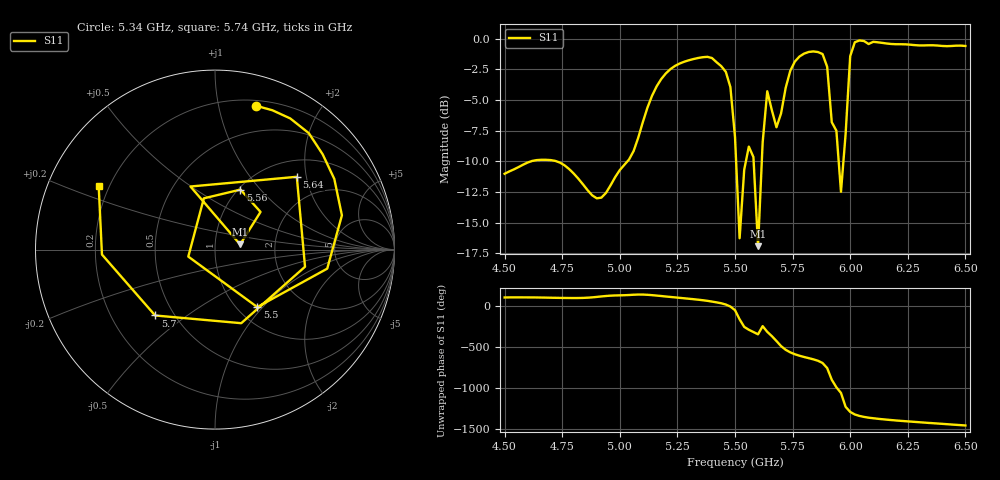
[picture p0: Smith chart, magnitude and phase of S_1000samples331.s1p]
! TOUCHSTONE file generated by CST MICROWAVE STUDIO
! Date and time: Thu Oct 27 19:33:29 2022
! Project name: L.cst
! Parameters = {Di=1.27; Epsilon_r=1.56; InnerDiameter=1.27; Length=2; Lf=10; Lg=60; OuterConductorThickness=0.2921; OuterDiameter=3.6; Wf=3; Wp=41.2; de=1.5; df=6.8; g=0.8; gx=1.20844; gy=0.865702; h=2.34; hf=1.524; px=13.9329; py=14.2488; w=9.7; wx=12.7245; wy=13.3831}
! Header version: 2018
! Port assignment regex: !\s*Touchstone port\s*([0-9]+)\s*=\s*(CST MWS port|CST DS port)\s*([0-9]+|Zmin|Zmax)\s*\(\"(.*)\"\)(\s*mode\s*([0-9]+))?.*
! Touchstone port assignment:
! Touchstone port 1 = CST MWS port 1 ("")
# GHz S DB R 50
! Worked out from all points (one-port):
!   101 points, 4.5 GHz to 6.5 GHz, reference 50 ohm
!   lowest |S11| = -16.9 dB at 5.6 GHz (marker M1), VSWR 1.33, Z = 66.1 + j3.87 ohm
!   |S11| at or under -10 dB: start of sweep to 4.615 GHz; 4.725 GHz to 5.033 GHz (307.5 MHz wide, 6.3 % of centre); 5.505 GHz to 5.547 GHz (42.42 MHz wide, 0.768 % of centre) (the widest 3 of 5)
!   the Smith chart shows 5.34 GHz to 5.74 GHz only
!   S11 on the Smith chart (normalised r, x): 5.34 GHz: 0.25, +1.30; 5.5 GHz: 1.23, -0.93; 5.56 GHz: 1.02, +0.79; 5.64 GHz: 1.36, +1.76; 5.7 GHz: 0.39, -0.38; 5.74 GHz: 0.16, +0.25
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4.5  -11.01 101.1
4.76  -10.32 95.3
5  -10.71 127.2
5.14  -4.66 129.5
5.26  -2.03 96.6
5.34  -1.58 74.1
5.46  -2.71 15.1
5.5  -8.01 -53.7
5.52  -16.26 -165.3
5.56  -8.80 67.0
5.6  -16.91 11.6
5.62  -8.47 111.2
5.64  -4.29 41.7
5.66  -5.84 -10.8
5.7  -6.09 -132.3
5.74  -2.62 151.2
5.76  -1.87 128.2
5.82  -1.09 80.7
5.88  -1.26 21.7
5.9  -2.30 -40.2
5.92  -6.81 176.9
5.94  -7.50 85.3
5.96  -12.48 15.9
5.98  -7.80 -152.7
6  -1.44 144.4
6.04  -0.16 95.7
6.26  -0.50 27.0
6.5  -0.60 -20.7
